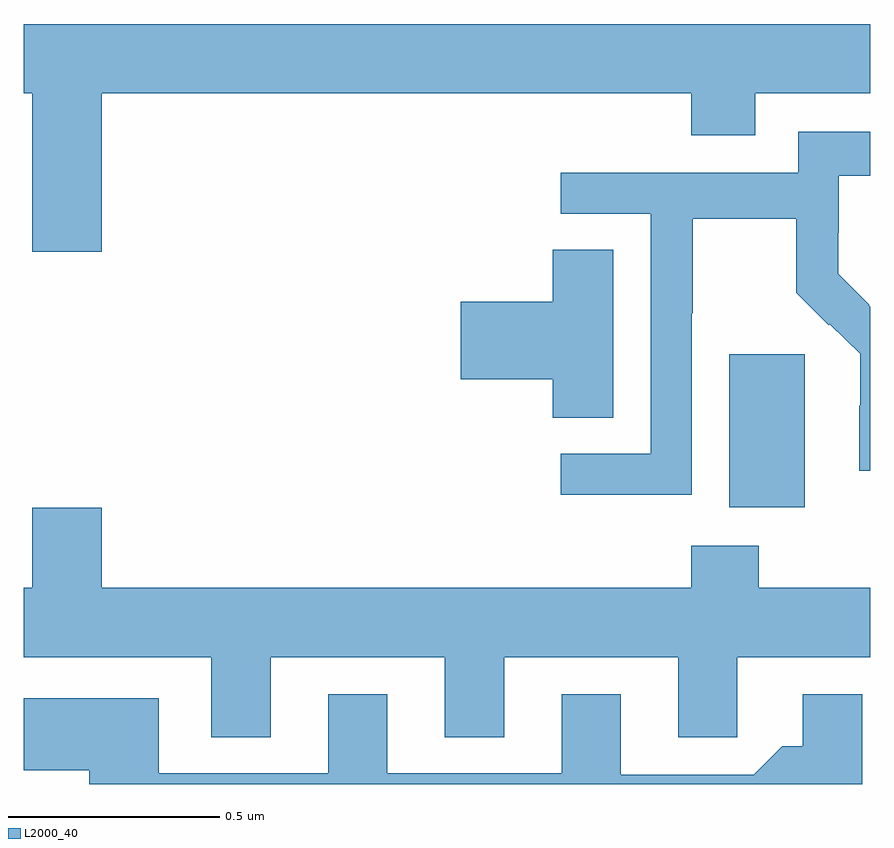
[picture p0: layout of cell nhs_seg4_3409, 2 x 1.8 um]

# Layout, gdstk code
import gdstk
lib = gdstk.Library(unit=1e-6, precision=1e-09)
def R(c, l, rs):  # rectangles x0, y0, x1, y1
    for r in rs: c.add(gdstk.rectangle(r[:2], r[2:], *l))
def P(c, l, *ps):  # polygons
    for p in ps: c.add(gdstk.Polygon(p, *l))
L2000_40 = (2000, 40)

nhs_seg4_3409 = lib.new_cell('nhs_seg4_3409')
R(nhs_seg4_3409, L2000_40, [(154.667,750.554,154.846,750.915)])
P(nhs_seg4_3409, L2000_40, [(153.184,751.532),(154.577,751.532),(154.577,751.433),(154.729,751.433),(154.729,751.532),(155,751.532),(155,751.696),(153,751.696),(153,751.532),(153.02,751.532),(153.02,751.158),(153.184,751.158)],
  [(154.578,751.012),(154.581,751.012),(154.581,751.236),(154.825,751.236),(154.825,751.061),(154.902,750.984),(154.905,750.987),(154.976,750.917),(154.976,750.794),(154.974,750.794),(154.974,750.64),(155,750.64),(155,751.028),(154.997,751.031),(154.998,751.032),(154.924,751.106),(154.924,751.203),(154.926,751.203),(154.926,751.337),(155,751.337),(155,751.441),(154.83,751.441),(154.83,751.344),(154.269,751.344),(154.269,751.248),(154.482,751.248),(154.482,750.681),(154.269,750.681),(154.269,750.583),(154.578,750.583)],
  [(154.393,751.163),(154.25,751.163),(154.25,751.04),(154.032,751.04),(154.032,750.857),(154.25,750.857),(154.25,750.766),(154.393,750.766)],
  [(153.583,750.2),(153.995,750.2),(153.995,750.01),(154.135,750.01),(154.135,750.2),(154.547,750.2),(154.547,750.01),(154.686,750.01),(154.686,750.2),(155,750.2),(155,750.364),(154.737,750.364),(154.737,750.463),(154.577,750.463),(154.577,750.364),(153.184,750.364),(153.184,750.553),(153.02,750.553),(153.02,750.364),(153,750.364),(153,750.2),(153.443,750.2),(153.443,750.01),(153.583,750.01)],
  [(154.981,750.112),(154.841,750.112),(154.841,749.989),(154.792,749.989),(154.725,749.922),(154.411,749.922),(154.411,750.112),(154.271,750.112),(154.271,749.925),(153.859,749.925),(153.859,750.112),(153.719,750.112),(153.719,749.925),(153.319,749.925),(153.319,750.103),(153,750.103),(153,749.933),(153.155,749.933),(153.155,749.9),(154.981,749.9)])

lib.write_gds('nhs_seg4_3409.gds')
